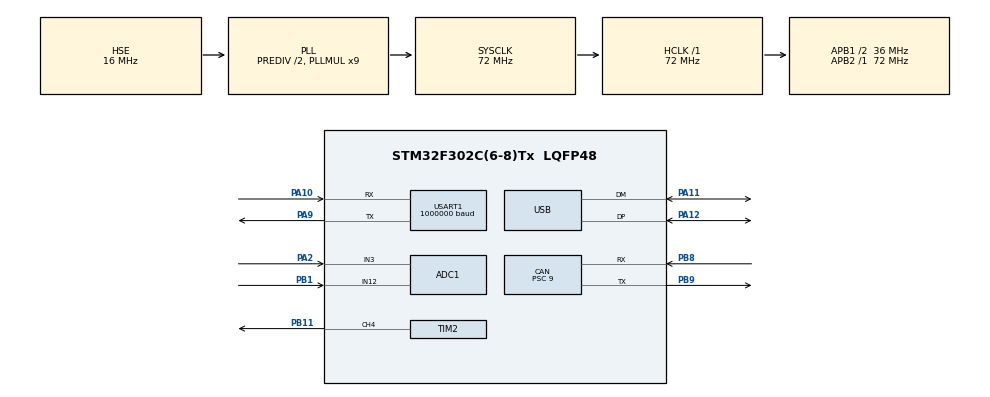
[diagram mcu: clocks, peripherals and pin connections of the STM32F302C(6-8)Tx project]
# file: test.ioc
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ADC1.Channel-3\#ChannelRegularConversion=ADC_CHANNEL_3
ADC1.Channel-4\#ChannelRegularConversion=ADC_CHANNEL_12
ADC1.ContinuousConvMode=DISABLE
ADC1.DMAContinuousRequests=ENABLE
ADC1.EOCSelection=ADC_EOC_SEQ_CONV
ADC1.EnableInjectedConversion=DISABLE
ADC1.EnableRegularConversion=ENABLE
ADC1.ExternalTrigConv=ADC_EXTERNALTRIGCONV_T1_TRGO
ADC1.NbrOfConversion=2
ADC1.NbrOfConversionFlag=1
ADC1.Offset-3\#ChannelRegularConversion=0
ADC1.Offset-4\#ChannelRegularConversion=0
ADC1.OffsetNumber-3\#ChannelRegularConversion=ADC_OFFSET_NONE
ADC1.OffsetNumber-4\#ChannelRegularConversion=ADC_OFFSET_NONE
ADC1.Rank-3\#ChannelRegularConversion=1
ADC1.Rank-4\#ChannelRegularConversion=2
ADC1.SamplingTime-3\#ChannelRegularConversion=ADC_SAMPLETIME_61CYCLES_5
ADC1.SamplingTime-4\#ChannelRegularConversion=ADC_SAMPLETIME_61CYCLES_5
ADC1.SamplingTimeOPAMP-3\#ChannelRegularConversion=ADC_SAMPLETIME_61CYCLES_5
ADC1.SamplingTimeOPAMP-4\#ChannelRegularConversion=ADC_SAMPLETIME_61CYCLES_5
ADC1.SequencerNbRanks=2
ADC1.SubFamily=STM32F302x8
ADC1.master=1
CAN.ABOM=ENABLE
CAN.AWUM=DISABLE
CAN.BS1=CAN_BS1_2TQ
CAN.CalculateBaudRate=1000000
CAN.CalculateTimeBit=1000
CAN.CalculateTimeQuantum=250.0
CAN.NART=ENABLE
CAN.Prescaler=9
CAN.TXFP=DISABLE
Dma.ADC1.0.Direction=DMA_PERIPH_TO_MEMORY
Dma.ADC1.0.Instance=DMA1_Channel1
Dma.ADC1.0.MemDataAlignment=DMA_MDATAALIGN_HALFWORD
Dma.ADC1.0.MemInc=DMA_MINC_ENABLE
Dma.ADC1.0.Mode=DMA_CIRCULAR
Dma.ADC1.0.PeriphDataAlignment=DMA_PDATAALIGN_HALFWORD
Dma.ADC1.0.PeriphInc=DMA_PINC_DISABLE
Dma.ADC1.0.Priority=DMA_PRIORITY_LOW
Dma.Request0=ADC1
Dma.Request1=USART1_TX
Dma.Request2=USART1_RX
Dma.USART1_RX.2.Direction=DMA_PERIPH_TO_MEMORY
Dma.USART1_RX.2.Instance=DMA1_Channel5
Dma.USART1_RX.2.MemDataAlignment=DMA_MDATAALIGN_BYTE
Dma.USART1_RX.2.MemInc=DMA_MINC_ENABLE
Dma.USART1_RX.2.Mode=DMA_NORMAL
Dma.USART1_RX.2.PeriphDataAlignment=DMA_PDATAALIGN_BYTE
Dma.USART1_RX.2.PeriphInc=DMA_PINC_DISABLE
Dma.USART1_RX.2.Priority=DMA_PRIORITY_LOW
Dma.USART1_TX.1.Direction=DMA_MEMORY_TO_PERIPH
Dma.USART1_TX.1.Instance=DMA1_Channel4
Dma.USART1_TX.1.MemDataAlignment=DMA_MDATAALIGN_BYTE
Dma.USART1_TX.1.MemInc=DMA_MINC_ENABLE
Dma.USART1_TX.1.Mode=DMA_NORMAL
Dma.USART1_TX.1.PeriphDataAlignment=DMA_PDATAALIGN_BYTE
Dma.USART1_TX.1.PeriphInc=DMA_PINC_DISABLE
Dma.USART1_TX.1.Priority=DMA_PRIORITY_LOW
IWDG.Reload=1000
IWDG.Window=1000
Mcu.Family=STM32F3
Mcu.Name=STM32F302C(6-8)Tx
Mcu.Package=LQFP48
NVIC.ADC1_IRQn=true\:0\:0\:false\:false\:true\:true\:true\:true
NVIC.CAN_RX1_IRQn=true\:0\:0\:false\:false\:true\:true\:true\:true
NVIC.DMA1_Channel1_IRQn=true\:0\:0\:false\:false\:true\:false\:true\:true
NVIC.DMA1_Channel4_IRQn=true\:0\:0\:false\:false\:true\:false\:true\:true
NVIC.DMA1_Channel5_IRQn=true\:0\:0\:false\:false\:true\:false\:true\:true
NVIC.PriorityGroup=NVIC_PRIORITYGROUP_4
NVIC.TIM1_UP_TIM16_IRQn=true\:0\:0\:false\:false\:true\:true\:true\:true
NVIC.USART1_IRQn=true\:0\:0\:false\:false\:true\:true\:true\:true
NVIC.USB_HP_CAN_TX_IRQn=true\:0\:0\:false\:false\:true\:true\:true\:true
NVIC.USB_HP_IRQn=true\:0\:0\:false\:false\:true\:true\:true\:true
NVIC.USB_LP_CAN_RX0_IRQn=true\:0\:0\:false\:false\:true\:true\:true\:true
NVIC.USB_LP_IRQn=true\:0\:0\:false\:false\:true\:false\:true\:true
PA10.Mode=Asynchronous
PA10.Signal=USART1_RX
PA11.Mode=Device
PA11.Signal=USB_DM
PA12.Mode=Device
PA12.Signal=USB_DP
PA13.Mode=Serial_Wire
PA13.Signal=SYS_JTMS-SWDIO
PA14.Mode=Serial_Wire
PA14.Signal=SYS_JTCK-SWCLK
PA2.Mode=IN3-Single-Ended
PA2.Signal=ADC1_IN3
PA9.Mode=Asynchronous
PA9.Signal=USART1_TX
PB1.Mode=IN12-Single-Ended
PB1.Signal=ADC1_IN12
PB11.Signal=S_TIM2_CH4
PB8.Mode=CAN_Activate
PB8.Signal=CAN_RX
PB9.Mode=CAN_Activate
PB9.Signal=CAN_TX
PF0-OSC_IN.Mode=HSE-External-Oscillator
PF0-OSC_IN.Signal=RCC_OSC_IN
PF1-OSC_OUT.Mode=HSE-External-Oscillator
PF1-OSC_OUT.Signal=RCC_OSC_OUT
ProjectManager.HeapSize=0x1000
ProjectManager.StackSize=0x2000
ProjectManager.TargetToolchain=MDK-ARM V5.32
RCC.AHBFreq_Value=72000000
RCC.APB1CLKDivider=RCC_HCLK_DIV2
RCC.APB1Freq_Value=36000000
RCC.APB1TimFreq_Value=72000000
RCC.APB2Freq_Value=72000000
RCC.APB2TimFreq_Value=72000000
RCC.CortexFreq_Value=72000000
RCC.HCLKFreq_Value=72000000
RCC.HSE_VALUE=16000000
RCC.HSI_VALUE=8000000
RCC.LSE_VALUE=32768
RCC.PLLMUL=RCC_PLL_MUL9
RCC.PRESCALERUSB=RCC_USBCLKSOURCE_PLL_DIV1_5
RCC.RCC_PLLsource_Clock_Source_FROM_HSE=RCC_HSE_PREDIV_DIV2
RCC.SYSCLKFreq_VALUE=72000000
RCC.SYSCLKSourceVirtual=RCC_SYSCLKSOURCE_PLLCLK
RCC.USBFreq_Value=48000000
SH.S_TIM2_CH4.0=TIM2_CH4,PWM Generation4 CH4
TIM1.Period=1000-1
TIM1.Prescaler=72-1
TIM1.TIM_MasterOutputTrigger=TIM_TRGO_UPDATE
TIM2.AutoReloadPreload=TIM_AUTORELOAD_PRELOAD_ENABLE
TIM2.Channel-PWM\ Generation4\ CH4=TIM_CHANNEL_4
TIM2.Period=10000-1
USART1.BaudRate=1000000
USART1.Parity=PARITY_EVEN
USART1.VirtualMode-Asynchronous=VM_ASYNC
USART1.WordLength=WORDLENGTH_9B
USB.low_power_enable=DISABLE
USB.lpm_enable=ENABLE
USB_DEVICE.APP_RX_DATA_SIZE=64
USB_DEVICE.APP_TX_DATA_SIZE=64
USB_DEVICE.CLASS_NAME_FS=CDC
USB_DEVICE.INTERFACE_STRING_CDC_FS=RoboWalker_Powermeter_FS
USB_DEVICE.MANUFACTURER_STRING=RoboWalker_Powermeter
USB_DEVICE.USBD_MAX_STR_DESC_SIZ=32
USB_DEVICE.USBD_SELF_POWERED=1
USB_DEVICE.VirtualMode=Cdc
USB_DEVICE.VirtualModeFS=Cdc_FS
VP_IWDG_VS_IWDG.Mode=IWDG_Activate
VP_TIM1_VS_ClockSourceINT.Mode=Internal
VP_USB_DEVICE_VS_USB_DEVICE_CDC_FS.Mode=CDC_FS
board=custom

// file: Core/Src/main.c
/* USER CODE BEGIN Header */
/**
 ******************************************************************************
 * @file           : main.c
 * @brief          : Main program body
 ******************************************************************************
 * @attention
 *
 * Copyright (c) 2026 STMicroelectronics.
 * All rights reserved.
 *
 * This software is licensed under terms that can be found in the LICENSE file
 * in the root directory of this software component.
 * If no LICENSE file comes with this software, it is provided AS-IS.
 *
 ******************************************************************************
 */
/* USER CODE END Header */
#include "main.h"
#include "adc.h"
#include "can.h"
#include "dma.h"
#include "iwdg.h"
#include "tim.h"
#include "usart.h"
#include "usb_device.h"
#include "gpio.h"

/* USER CODE BEGIN Includes */

#include "usbd_cdc_if.h"

/* USER CODE END Includes */

/* USER CODE BEGIN PV */

// ADC采样缓冲区
uint16_t adc_buffer[2];
// 电流, 电压, 功率值
float now_current = 0.0f;
float now_voltage = 0.0f;
float now_power = 0.0f;
// UART通信缓冲区, 0xAB float:电流 float:电压 float:功率 uint8:校验和
uint8_t uart_tx_buffer[14];
// CAN通信缓冲区, float:电流 float:电压
uint8_t can_tx_buffer[8];
// USB通信缓冲区, 0xAB float:电流 float:电压 float:功率 uint8:校验和
uint8_t usb_tx_buffer[14];

/* USER CODE END PV */

void SystemClock_Config(void);

int main(void)
{

  /* MCU Configuration--------------------------------------------------------*/

  /* Reset of all peripherals, Initializes the Flash interface and the Systick. */
  HAL_Init();

  /* Configure the system clock */
  SystemClock_Config();

  /* Initialize all configured peripherals */
  MX_GPIO_Init();
  MX_DMA_Init();
  MX_ADC1_Init();
  MX_CAN_Init();
  MX_TIM2_Init();
  MX_USART1_UART_Init();
  MX_USB_DEVICE_Init();
  MX_IWDG_Init();
  MX_TIM1_Init();
  /* USER CODE BEGIN 2 */

  while (HAL_ADCEx_Calibration_Start(&hadc1, ADC_SINGLE_ENDED) != HAL_OK)
  {
  };
  HAL_ADC_Start_DMA(&hadc1, (uint32_t *)adc_buffer, 2);
  HAL_CAN_Start(&hcan);
  HAL_TIM_Base_Start_IT(&htim1);
  HAL_TIM_PWM_Start(&htim2, TIM_CHANNEL_4);

  /* USER CODE END 2 */

  /* Infinite loop */
  /* USER CODE BEGIN WHILE */
  while (1)
  {
    // TIM2 CH4的呼吸灯, 周期1s
    for (int16_t pwm = 0; pwm <= 10000; pwm += 20)
    {
      __HAL_TIM_SET_COMPARE(&htim2, TIM_CHANNEL_4, pwm);
      HAL_Delay(0);
    }
    for (int16_t pwm = 10000; pwm >= 20; pwm -= 20)
    {
      __HAL_TIM_SET_COMPARE(&htim2, TIM_CHANNEL_4, pwm);
      HAL_Delay(0);
    }
    /* USER CODE END WHILE */

  }
}

void SystemClock_Config(void)
{
  RCC_OscInitTypeDef RCC_OscInitStruct = {0};
  RCC_ClkInitTypeDef RCC_ClkInitStruct = {0};
  RCC_PeriphCLKInitTypeDef PeriphClkInit = {0};

  /** Initializes the RCC Oscillators according to the specified parameters
  * in the RCC_OscInitTypeDef structure.
  */
  RCC_OscInitStruct.OscillatorType = RCC_OSCILLATORTYPE_LSI|RCC_OSCILLATORTYPE_HSE;
  RCC_OscInitStruct.HSEState = RCC_HSE_ON;
  RCC_OscInitStruct.HSEPredivValue = RCC_HSE_PREDIV_DIV2;
  RCC_OscInitStruct.HSIState = RCC_HSI_ON;
  RCC_OscInitStruct.LSIState = RCC_LSI_ON;
  RCC_OscInitStruct.PLL.PLLState = RCC_PLL_ON;
  RCC_OscInitStruct.PLL.PLLSource = RCC_PLLSOURCE_HSE;
  RCC_OscInitStruct.PLL.PLLMUL = RCC_PLL_MUL9;
  if (HAL_RCC_OscConfig(&RCC_OscInitStruct) != HAL_OK)
  {
    Error_Handler();
  }

  /** Initializes the CPU, AHB and APB buses clocks
  */
  RCC_ClkInitStruct.ClockType = RCC_CLOCKTYPE_HCLK|RCC_CLOCKTYPE_SYSCLK
                              |RCC_CLOCKTYPE_PCLK1|RCC_CLOCKTYPE_PCLK2;
  RCC_ClkInitStruct.SYSCLKSource = RCC_SYSCLKSOURCE_PLLCLK;
  RCC_ClkInitStruct.AHBCLKDivider = RCC_SYSCLK_DIV1;
  RCC_ClkInitStruct.APB1CLKDivider = RCC_HCLK_DIV2;
  RCC_ClkInitStruct.APB2CLKDivider = RCC_HCLK_DIV1;

  if (HAL_RCC_ClockConfig(&RCC_ClkInitStruct, FLASH_LATENCY_2) != HAL_OK)
  {
    Error_Handler();
  }
  PeriphClkInit.PeriphClockSelection = RCC_PERIPHCLK_USB|RCC_PERIPHCLK_USART1
                              |RCC_PERIPHCLK_TIM1|RCC_PERIPHCLK_ADC1;
  PeriphClkInit.Usart1ClockSelection = RCC_USART1CLKSOURCE_PCLK1;
  PeriphClkInit.USBClockSelection = RCC_USBCLKSOURCE_PLL_DIV1_5;
  PeriphClkInit.Tim1ClockSelection = RCC_TIM1CLK_HCLK;
  PeriphClkInit.Adc1ClockSelection = RCC_ADC1PLLCLK_DIV1;

  if (HAL_RCCEx_PeriphCLKConfig(&PeriphClkInit) != HAL_OK)
  {
    Error_Handler();
  }
}

/* USER CODE BEGIN 4 */

void HAL_TIM_PeriodElapsedCallback(TIM_HandleTypeDef *htim)
{
  if (htim == &htim1)
  {
    now_voltage = (float)(adc_buffer[0]) / 4096.0f * 3.3f / 50.0f * 10010.0f / 10.0f;
    now_current = ((float)(adc_buffer[1] - 2048.0f) / 4096.0f * 3.3f) / 50.0f / 0.005f;
    now_power = now_voltage * now_current;

    uart_tx_buffer[0] = 0xAB;
    memcpy(&uart_tx_buffer[1], &now_current, 4);
    memcpy(&uart_tx_buffer[5], &now_voltage, 4);
    memcpy(&uart_tx_buffer[9], &now_power, 4);
    uart_tx_buffer[13] = 0;
    for (int i = 1; i < 13; i++)
    {
      uart_tx_buffer[13] += uart_tx_buffer[i];
    }
    HAL_UART_Transmit_DMA(&huart1, uart_tx_buffer, 14);

    memcpy(&can_tx_buffer[0], &now_current, 4);
    memcpy(&can_tx_buffer[4], &now_voltage, 4);
    CAN_TxHeaderTypeDef can_tx_header;
    can_tx_header.StdId = 0x114;
    can_tx_header.ExtId = 0;
    can_tx_header.IDE = 0;
    can_tx_header.RTR = 0;
    can_tx_header.DLC = 8;
    uint32_t can_tx_mailbox;
    HAL_CAN_AddTxMessage(&hcan, &can_tx_header, can_tx_buffer, &can_tx_mailbox);

    usb_tx_buffer[0] = 0xAB;
    memcpy(&usb_tx_buffer[1], &now_current, 4);
    memcpy(&usb_tx_buffer[5], &now_voltage, 4);
    memcpy(&usb_tx_buffer[9], &now_power, 4);
    usb_tx_buffer[13] = 0;
    for (int i = 1; i < 13; i++)
    {
      usb_tx_buffer[13] += usb_tx_buffer[i];
    }
    CDC_Transmit_FS(usb_tx_buffer, 14);
    HAL_IWDG_Refresh(&hiwdg);
  }
}

/* USER CODE END 4 */

void Error_Handler(void)
{
  __disable_irq();
  while (1)
  {
  }
}
